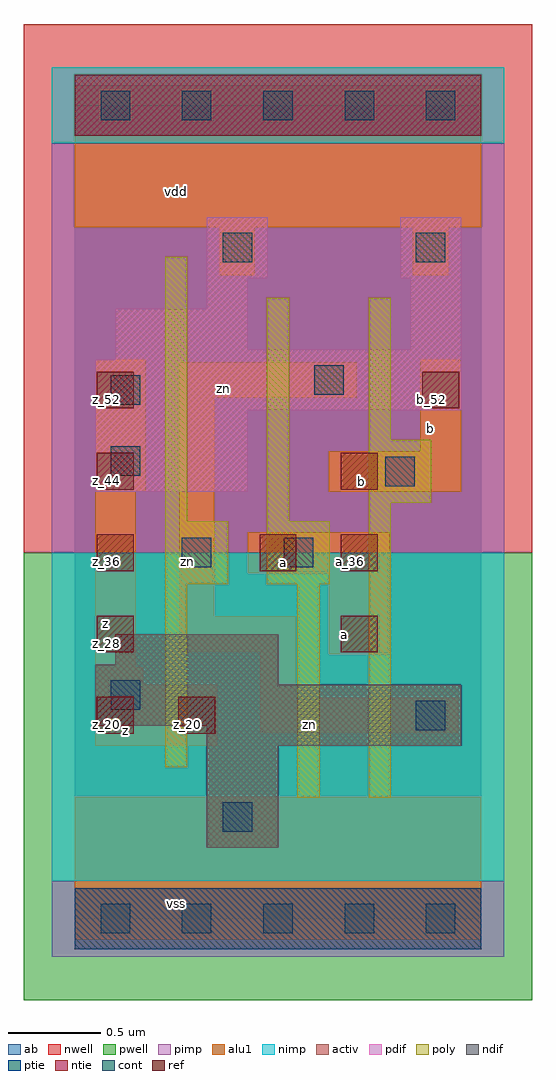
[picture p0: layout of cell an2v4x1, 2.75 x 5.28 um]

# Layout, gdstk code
import gdstk
lib = gdstk.Library(unit=1e-6, precision=2.5e-09)
def R(c, l, rs):  # rectangles x0, y0, x1, y1
    for r in rs: c.add(gdstk.rectangle(r[:2], r[2:], *l))
def A(c, l, x, y, w, h, nx, ny, dx, dy):  # array of equal rectangles
    R(c, l, [(x+i*dx, y+j*dy, x+i*dx+w, y+j*dy+h) for i in range(nx) for j in range(ny)])
ndif = (3, 0)
pdif = (4, 0)
ntie = (5, 0)
ptie = (6, 0)
ref = (24, 0)
cont = (25, 0)
pwell = (41, 0)
nwell = (42, 0)
activ = (43, 0)
pimp = (44, 0)
nimp = (45, 0)
poly = (46, 0)
alu1 = (49, 0)
ab = (63, 0)

an2v4x1 = lib.new_cell('an2v4x1')
R(an2v4x1, ndif, [(0.715,0.385,1.1,0.935), (0.715,0.935,2.09,1.045), (0.11,1.045,2.09,1.265), (0.11,1.265,1.1,1.375), (0.22,1.375,1.1,1.54)])
R(an2v4x1, pdif, [(0.11,2.31,0.935,2.75), (0.11,2.75,2.09,3.025), (0.22,3.025,2.09,3.08), (0.22,3.08,0.935,3.3), (1.815,3.08,2.09,3.465), (0.715,3.3,0.935,3.465), (0.715,3.465,1.045,3.795), (1.76,3.465,2.09,3.795)])
R(an2v4x1, ntie, [(0,4.235,2.2,4.565)])
R(an2v4x1, ptie, [(0,-0.165,2.2,0.165)])
A(an2v4x1, ref, 0.12, 1, 0.2, 0.2, 1, 5, 0, 0.44)
A(an2v4x1, ref, 1.44, 1.44, 0.2, 0.2, 1, 3, 0, 0.44)
R(an2v4x1, ref, [(0.56,1,0.76,1.2), (1,1.88,1.2,2.08), (1.88,2.76,2.08,2.96)])
A(an2v4x1, cont, 0.14, -0.08, 0.16, 0.16, 5, 2, 0.44, 4.4)
R(an2v4x1, cont, [(0.8,0.47,0.96,0.63), (1.845,1.02,2.005,1.18), (0.195,1.13,0.355,1.29), (0.58,1.9,0.74,2.06), (1.13,1.9,1.29,2.06), (1.68,2.34,1.84,2.5), (0.195,2.395,0.355,2.555), (0.195,2.78,0.355,2.94), (1.295,2.835,1.455,2.995), (0.8,3.55,0.96,3.71), (1.845,3.55,2.005,3.71)])
R(an2v4x1, pwell, [(-0.275,-0.44,2.475,1.98)])
R(an2v4x1, nwell, [(-0.275,1.98,2.475,4.84)])
R(an2v4x1, activ, [(0,-0.165,2.2,0.165), (0.715,0.385,1.1,0.935), (0.715,0.935,2.09,1.045), (0.11,1.045,2.09,1.265), (0.11,1.265,1.1,1.375), (0.22,1.375,1.1,1.54), (0.11,2.31,0.935,2.75), (0.11,2.75,2.09,3.025), (0.22,3.025,2.09,3.08), (0.22,3.08,0.935,3.3), (1.815,3.08,2.09,3.465), (0.715,3.3,0.935,3.465), (0.715,3.465,1.045,3.795), (1.76,3.465,2.09,3.795), (0,4.235,2.2,4.565)])
R(an2v4x1, pimp, [(-0.125,-0.205,2.325,0.205), (-0.125,1.98,2.325,4.195)])
R(an2v4x1, nimp, [(-0.125,0.205,2.325,1.98), (-0.125,4.195,2.325,4.605)])
R(an2v4x1, poly, [(1.205,0.655,1.325,1.81), (1.59,0.655,1.71,2.25), (0.49,0.82,0.61,1.81), (0.49,1.81,0.83,2.15), (1.04,1.81,1.38,2.15), (0.49,2.15,0.61,3.58), (1.04,2.15,1.16,3.36), (1.59,2.25,1.93,2.59), (1.59,2.59,1.71,3.36)])
R(an2v4x1, alu1, [(0,-0.11,2.2,0.66), (0.11,0.935,0.77,1.265), (1.005,1.005,2.075,1.195), (1.005,1.195,1.195,1.445), (0.11,1.265,0.37,1.36), (0.11,1.36,0.33,2.31), (1.375,1.43,1.705,1.87), (0.565,1.445,1.195,1.635), (0.565,1.635,0.755,2.82), (0.935,1.87,1.705,2.09), (0.11,2.31,0.385,3.025), (1.375,2.31,2.09,2.53), (1.87,2.53,2.09,3.025), (0.565,2.82,1.525,3.01), (0.785,3.48,0.975,3.74), (1.83,3.48,2.02,3.74), (0,3.74,2.2,4.51)])
R(an2v4x1, ab, [(0,0,2.2,4.4)])
an2v4x1.add(gdstk.Label('vss', (0.55,0.0825), layer=49, texttype=0))
an2v4x1.add(gdstk.Label('zn', (1.2725,1.0525), layer=49, texttype=0))
an2v4x1.add(gdstk.Label('a', (1.4575,1.54), layer=49, texttype=0))
an2v4x1.add(gdstk.Label('z', (0.275,1.0175), layer=49, texttype=0))
an2v4x1.add(gdstk.Label('a', (1.1275,1.925), layer=49, texttype=0))
an2v4x1.add(gdstk.Label('b', (1.5525,2.365), layer=49, texttype=0))
an2v4x1.add(gdstk.Label('b', (1.925,2.6525), layer=49, texttype=0))
an2v4x1.add(gdstk.Label('zn', (0.6125,1.93), layer=49, texttype=0))
an2v4x1.add(gdstk.Label('z', (0.165,1.5975), layer=49, texttype=0))
an2v4x1.add(gdstk.Label('zn', (0.805,2.8675), layer=49, texttype=0))
an2v4x1.add(gdstk.Label('vdd', (0.55,3.9325), layer=49, texttype=0))
an2v4x1.add(gdstk.Label('z_20', (0.61,1.05), layer=24, texttype=0))
an2v4x1.add(gdstk.Label('a_36', (1.05,1.93), layer=24, texttype=0))
an2v4x1.add(gdstk.Label('a_28', (1.49,1.49), layer=24, texttype=0))
an2v4x1.add(gdstk.Label('a_36', (1.49,1.93), layer=24, texttype=0))
an2v4x1.add(gdstk.Label('b_44', (1.49,2.37), layer=24, texttype=0))
an2v4x1.add(gdstk.Label('b_52', (1.93,2.81), layer=24, texttype=0))
an2v4x1.add(gdstk.Label('z_20', (0.17,1.05), layer=24, texttype=0))
an2v4x1.add(gdstk.Label('z_28', (0.17,1.49), layer=24, texttype=0))
an2v4x1.add(gdstk.Label('z_36', (0.17,1.93), layer=24, texttype=0))
an2v4x1.add(gdstk.Label('z_44', (0.17,2.37), layer=24, texttype=0))
an2v4x1.add(gdstk.Label('z_52', (0.17,2.81), layer=24, texttype=0))

lib.write_gds('an2v4x1.gds')
